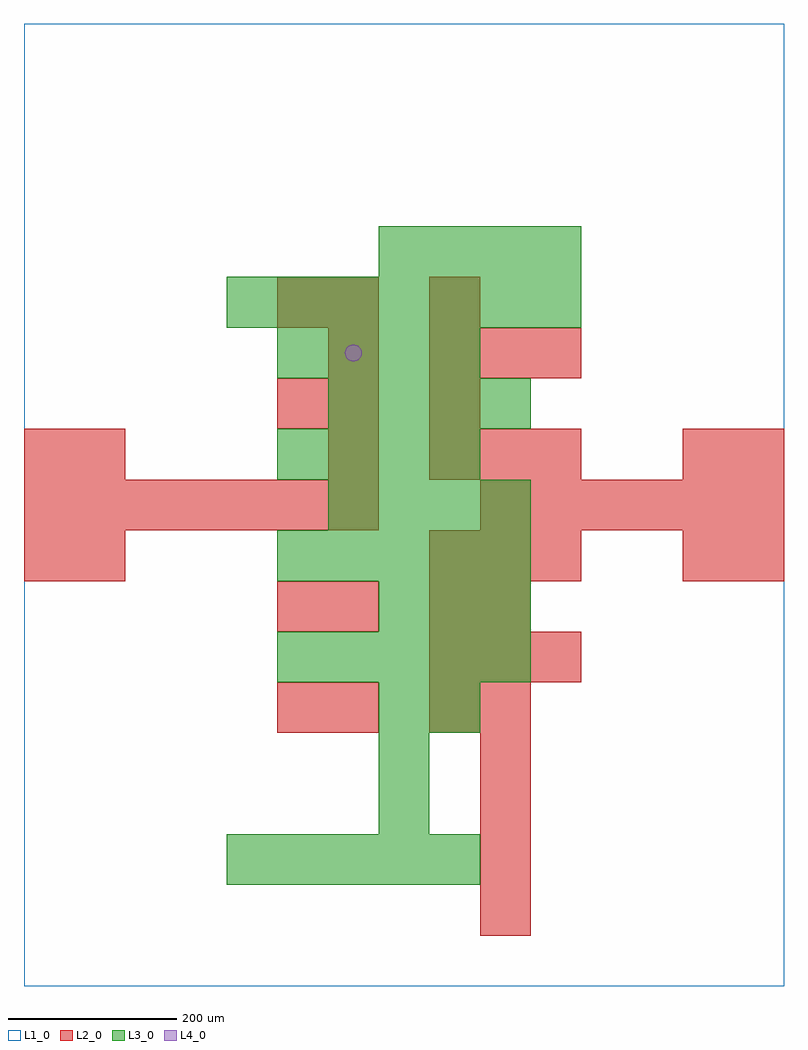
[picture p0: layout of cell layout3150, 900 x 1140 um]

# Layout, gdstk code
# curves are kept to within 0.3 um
import gdstk
lib = gdstk.Library(unit=1e-6, precision=1e-09)
def R(c, l, rs):  # rectangles x0, y0, x1, y1
    for r in rs: c.add(gdstk.rectangle(r[:2], r[2:], *l))
def A(c, l, x, y, w, h, nx, ny, dx, dy):  # array of equal rectangles
    R(c, l, [(x+i*dx, y+j*dy, x+i*dx+w, y+j*dy+h) for i in range(nx) for j in range(ny)])
def P(c, l, *ps):  # polygons
    for p in ps: c.add(gdstk.Polygon(p, *l))
L1_0 = (1, 0)
L2_0 = (2, 0)
L3_0 = (3, 0)
L4_0 = (4, 0)

layout3150 = lib.new_cell('layout3150')
R(layout3150, L1_0, [(0,0,900,1140)])
A(layout3150, L2_0, 540, 60, 60, 60, 1, 5, 0, 60)
A(layout3150, L2_0, 480, 360, 60, 60, 3, 4, 60, 120)
A(layout3150, L2_0, 0, 540, 60, 60, 7, 1, 60, 0)
A(layout3150, L2_0, 540, 540, 60, 60, 6, 1, 60, 0)
A(layout3150, L2_0, 360, 600, 60, 60, 1, 4, 0, 60)
R(layout3150, L2_0, [(300,300,360,360), (360,300,420,360), (480,300,540,360), (300,420,360,480), (360,420,420,480), (480,420,540,480), (540,420,600,480), (0,480,60,540), (60,480,120,540), (780,480,840,540), (840,480,900,540), (0,600,60,660), (60,600,120,660), (780,600,840,660), (840,600,900,660), (300,660,360,720), (480,660,540,720), (300,780,360,840), (480,780,540,840)])
A(layout3150, L3_0, 240, 120, 60, 60, 5, 1, 60, 0)
A(layout3150, L3_0, 420, 180, 60, 60, 1, 3, 0, 60)
A(layout3150, L3_0, 300, 360, 60, 60, 5, 2, 60, 120)
A(layout3150, L3_0, 420, 420, 60, 60, 3, 1, 60, 0)
A(layout3150, L3_0, 360, 540, 60, 60, 4, 2, 60, 120)
A(layout3150, L3_0, 300, 600, 60, 60, 4, 2, 60, 120)
A(layout3150, L3_0, 240, 780, 60, 60, 7, 1, 60, 0)
A(layout3150, L3_0, 420, 840, 60, 60, 4, 1, 60, 0)
R(layout3150, L3_0, [(480,300,540,360)])
P(layout3150, L4_0, [(400,750),(399.239,753.827),(397.071,757.071),(393.827,759.239),(390,760),(386.173,759.239),(382.929,757.071),(380.761,753.827),(380,750),(380.761,746.173),(382.929,742.929),(386.173,740.761),(390,740),(393.827,740.761),(397.071,742.929),(399.239,746.173)])

lib.write_gds('layout3150.gds')
